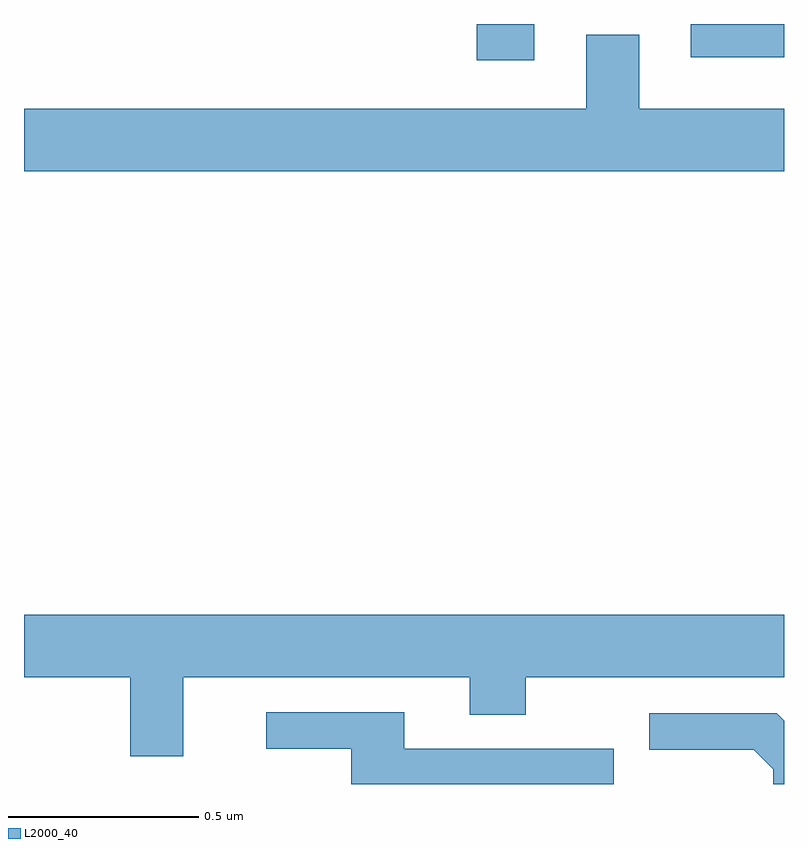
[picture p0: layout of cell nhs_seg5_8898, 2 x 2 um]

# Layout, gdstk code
import gdstk
lib = gdstk.Library(unit=1e-6, precision=1e-09)
def R(c, l, rs):  # rectangles x0, y0, x1, y1
    for r in rs: c.add(gdstk.rectangle(r[:2], r[2:], *l))
def P(c, l, *ps):  # polygons
    for p in ps: c.add(gdstk.Polygon(p, *l))
L2000_40 = (2000, 40)

nhs_seg5_8898 = lib.new_cell('nhs_seg5_8898')
R(nhs_seg5_8898, L2000_40, [(228.191,871.704,228.343,871.799), (228.755,871.712,229,871.799)])
P(nhs_seg5_8898, L2000_40, [(229,871.576),(228.619,871.576),(228.619,871.771),(228.479,871.771),(228.479,871.576),(227,871.576),(227,871.412),(229,871.412)],
  [(227.419,870.08),(228.173,870.08),(228.173,869.981),(228.321,869.981),(228.321,870.08),(229,870.08),(229,870.244),(227,870.244),(227,870.08),(227.279,870.08),(227.279,869.872),(227.419,869.872)],
  [(228.552,869.892),(228.001,869.892),(228.001,869.988),(227.637,869.988),(227.637,869.892),(227.861,869.892),(227.861,869.799),(228.552,869.799)],
  [(229,869.966),(228.981,869.985),(228.645,869.985),(228.645,869.889),(228.921,869.889),(228.972,869.838),(228.972,869.799),(229,869.799)])

lib.write_gds('nhs_seg5_8898.gds')
